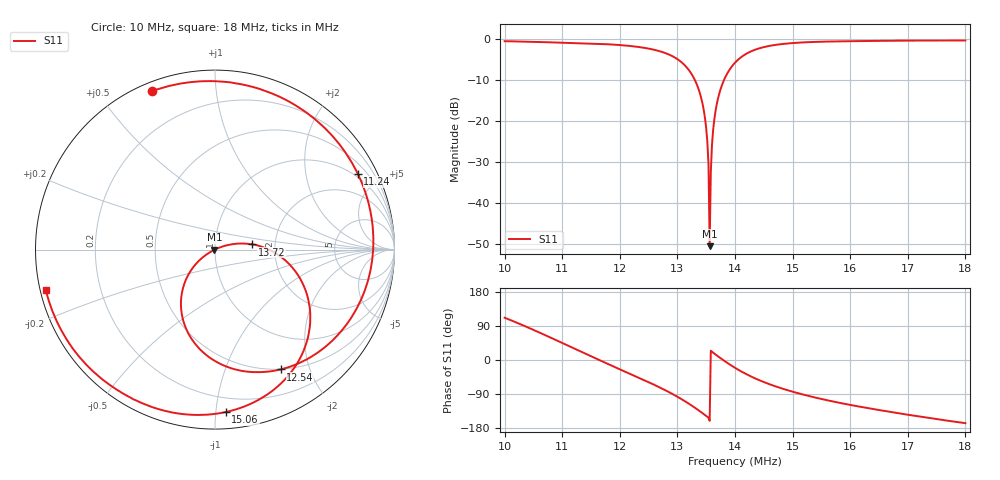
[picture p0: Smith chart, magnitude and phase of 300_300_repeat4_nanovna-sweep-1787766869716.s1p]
! S11 from 300_300_repeat4_nanovna-sweep-1787766869716.csv, converted by the rf-network-modeller history importer
# HZ S RI R 50
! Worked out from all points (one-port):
!   401 points, 10 MHz to 18 MHz, reference 50 ohm
!   lowest |S11| = -50.5 dB at 13.56 MHz (marker M1), VSWR 1.01, Z = 49.7 - j0.0995 ohm
!   |S11| at or under -10 dB: 13.31 MHz to 13.81 MHz (501.1 kHz wide, 3.7 % of centre)
!   S11 on the Smith chart (normalised r, x): 10 MHz: 0.04, +0.68; 11.24 MHz: 0.86, +3.84; 12.54 MHz: 0.50, -1.57; 13.72 MHz: 1.52, +0.09; 15.06 MHz: 0.10, -1.06; 18 MHz: 0.02, -0.12
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1e7  -0.349 0.8834
1.05e7  0.1688 0.9165
1.1e7  0.6452 0.6428
1.124e7  0.7961 0.4216
1.162e7  0.8818 0.0216
1.2e7  0.7759 -0.352
1.254e7  0.3659 -0.6676
1.278e7  0.1309 -0.6719
1.3e7  -0.0692 -0.5694
1.324e7  -0.1882 -0.3344
1.34e7  -0.1508 -0.144
1.348e7  -0.0889 -0.0615
1.35e7  -0.0694 -0.0441
1.352e7  -0.0485 -0.028
1.356e7  -0.00283 -0.001
1.36e7  0.0474 0.0191
1.362e7  0.0731 0.0257
1.364e7  0.0996 0.0305
1.372e7  0.2068 0.029
1.384e7  0.3539 -0.0307
1.4e7  0.4855 -0.1826
1.436e7  0.4914 -0.5691
1.466e7  0.327 -0.7811
1.5e7  0.0997 -0.8953
1.506e7  0.0602 -0.905
1.6e7  -0.4526 -0.8354
1.7e7  -0.7846 -0.5614
1.8e7  -0.9433 -0.2228
